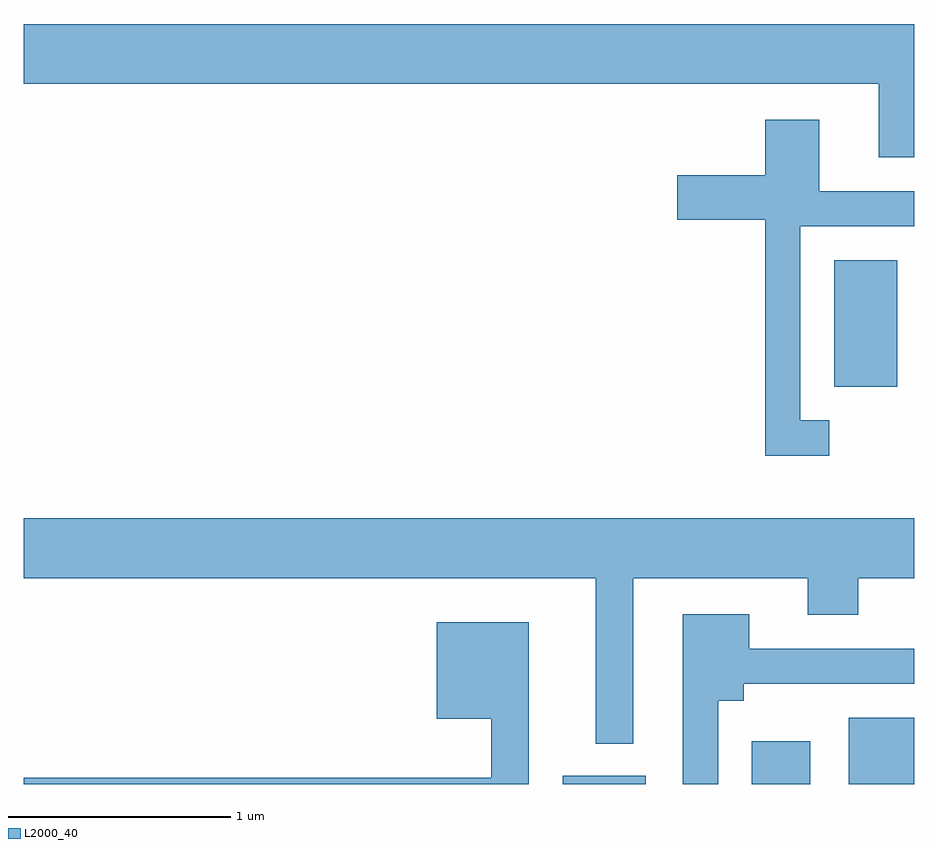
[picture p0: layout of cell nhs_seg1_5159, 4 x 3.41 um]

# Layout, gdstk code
import gdstk
lib = gdstk.Library(unit=1e-6, precision=1e-09)
def R(c, l, rs):  # rectangles x0, y0, x1, y1
    for r in rs: c.add(gdstk.rectangle(r[:2], r[2:], *l))
def P(c, l, *ps):  # polygons
    for p in ps: c.add(gdstk.Polygon(p, *l))
L2000_40 = (2000, 40)

nhs_seg1_5159 = lib.new_cell('nhs_seg1_5159')
R(nhs_seg1_5159, L2000_40, [(342.031,949.712,342.404,949.749), (342.881,949.712,343.144,949.904), (343.316,949.712,343.611,950.009), (343.251,951.496,343.534,952.064)])
P(nhs_seg1_5159, L2000_40, [(343.611,953.124),(339.611,953.124),(339.611,952.856),(343.451,952.856),(343.451,952.526),(343.611,952.526)],
  [(343.228,951.344),(343.099,951.344),(343.099,952.216),(343.611,952.216),(343.611,952.374),(343.184,952.374),(343.184,952.694),(342.941,952.694),(342.941,952.444),(342.546,952.444),(342.546,952.246),(342.941,952.246),(342.941,951.186),(343.228,951.186)],
  [(342.349,950.636),(343.131,950.636),(343.131,950.471),(343.359,950.471),(343.359,950.636),(343.611,950.636),(343.611,950.904),(339.611,950.904),(339.611,950.636),(342.181,950.636),(342.181,949.893),(342.349,949.893)],
  [(342.729,950.086),(342.844,950.086),(342.844,950.161),(343.611,950.161),(343.611,950.319),(342.869,950.319),(342.869,950.474),(342.571,950.474),(342.571,949.712),(342.729,949.712)],
  [(341.879,950.439),(341.466,950.439),(341.466,950.006),(341.711,950.006),(341.711,949.739),(339.611,949.739),(339.611,949.712),(341.879,949.712)])

lib.write_gds('nhs_seg1_5159.gds')
